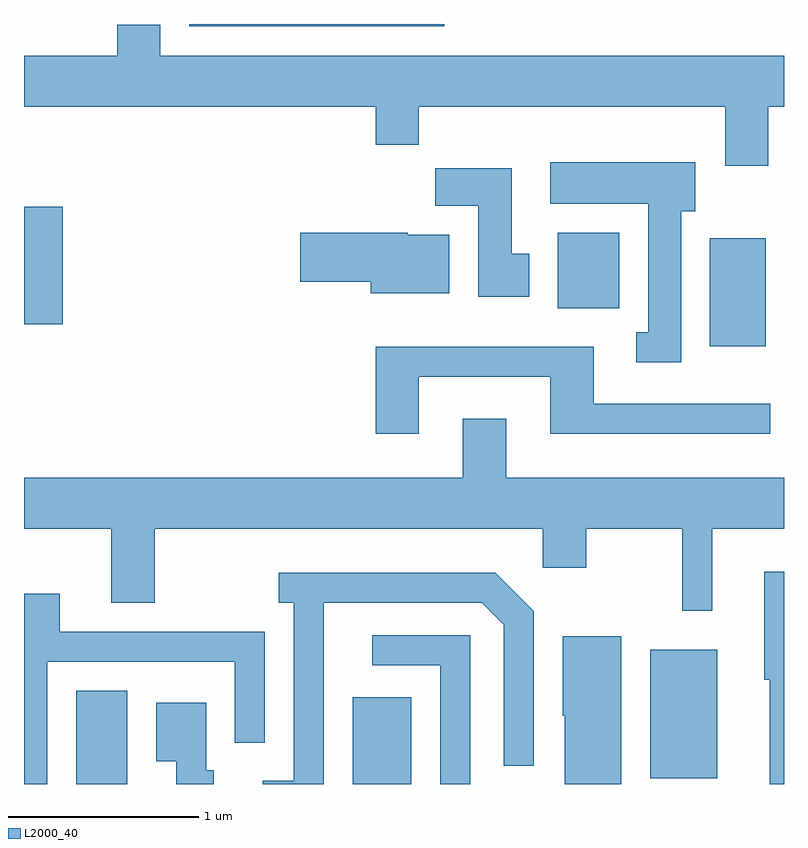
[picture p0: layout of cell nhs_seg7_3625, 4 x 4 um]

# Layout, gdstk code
import gdstk
lib = gdstk.Library(unit=1e-6, precision=1e-09)
def R(c, l, rs):  # rectangles x0, y0, x1, y1
    for r in rs: c.add(gdstk.rectangle(r[:2], r[2:], *l))
def P(c, l, *ps):  # polygons
    for p in ps: c.add(gdstk.Polygon(p, *l))
L2000_40 = (2000, 40)

nhs_seg7_3625 = lib.new_cell('nhs_seg7_3625')
R(nhs_seg7_3625, L2000_40, [(295.886,1766.252,296.154,1766.744), (297.341,1766.252,297.649,1766.709), (298.906,1766.281,299.259,1766.959), (299.221,1768.556,299.514,1769.124), (295.611,1768.671,295.814,1769.289), (298.421,1768.756,298.744,1769.154), (296.481,1770.241,297.823,1770.252)])
P(nhs_seg7_3625, L2000_40, [(299.529,1769.816),(299.611,1769.816),(299.611,1770.084),(296.329,1770.084),(296.329,1770.249),(296.101,1770.249),(296.101,1770.084),(295.611,1770.084),(295.611,1769.816),(297.461,1769.816),(297.461,1769.616),(297.689,1769.616),(297.689,1769.816),(299.301,1769.816),(299.301,1769.506),(299.529,1769.506)],
  [(299.069,1769.266),(299.144,1769.266),(299.144,1769.524),(298.381,1769.524),(298.381,1769.306),(298.896,1769.306),(298.896,1768.629),(298.833,1768.629),(298.833,1768.471),(299.069,1768.471)],
  [(298.269,1769.044),(298.179,1769.044),(298.179,1769.494),(297.776,1769.494),(297.776,1769.296),(298.001,1769.296),(298.001,1768.816),(298.269,1768.816)],
  [(297.849,1769.144),(297.63,1769.144),(297.63,1769.154),(297.066,1769.154),(297.066,1768.896),(297.436,1768.896),(297.436,1768.836),(297.849,1768.836)],
  [(297.689,1768.396),(298.381,1768.396),(298.381,1768.096),(299.538,1768.096),(299.538,1768.254),(298.609,1768.254),(298.609,1768.554),(297.461,1768.554),(297.461,1768.096),(297.689,1768.096)],
  [(299.234,1767.596),(299.611,1767.596),(299.611,1767.864),(298.149,1767.864),(298.149,1768.174),(297.921,1768.174),(297.921,1767.864),(295.611,1767.864),(295.611,1767.596),(296.071,1767.596),(296.071,1767.206),(296.299,1767.206),(296.299,1767.596),(298.341,1767.596),(298.341,1767.391),(298.569,1767.391),(298.569,1767.596),(299.076,1767.596),(299.076,1767.163),(299.234,1767.163)],
  [(299.611,1767.369),(299.506,1767.369),(299.506,1766.801),(299.536,1766.801),(299.536,1766.252),(299.611,1766.252)],
  [(297.189,1767.206),(298.019,1767.206),(298.136,1767.089),(298.136,1766.348),(298.294,1766.348),(298.294,1767.162),(298.092,1767.364),(296.953,1767.364),(296.953,1767.206),(297.031,1767.206),(297.031,1766.269),(296.868,1766.269),(296.868,1766.252),(297.189,1766.252)],
  [(295.734,1766.896),(296.721,1766.896),(296.721,1766.468),(296.879,1766.468),(296.879,1767.054),(295.799,1767.054),(295.799,1767.254),(295.611,1767.254),(295.611,1766.252),(295.734,1766.252)],
  [(297.959,1767.034),(297.443,1767.034),(297.443,1766.876),(297.801,1766.876),(297.801,1766.252),(297.959,1766.252)],
  [(298.754,1767.029),(298.446,1767.029),(298.446,1766.61),(298.456,1766.61),(298.456,1766.252),(298.754,1766.252)],
  [(296.609,1766.324),(296.569,1766.324),(296.569,1766.679),(296.306,1766.679),(296.306,1766.371),(296.411,1766.371),(296.411,1766.252),(296.609,1766.252)])

lib.write_gds('nhs_seg7_3625.gds')
